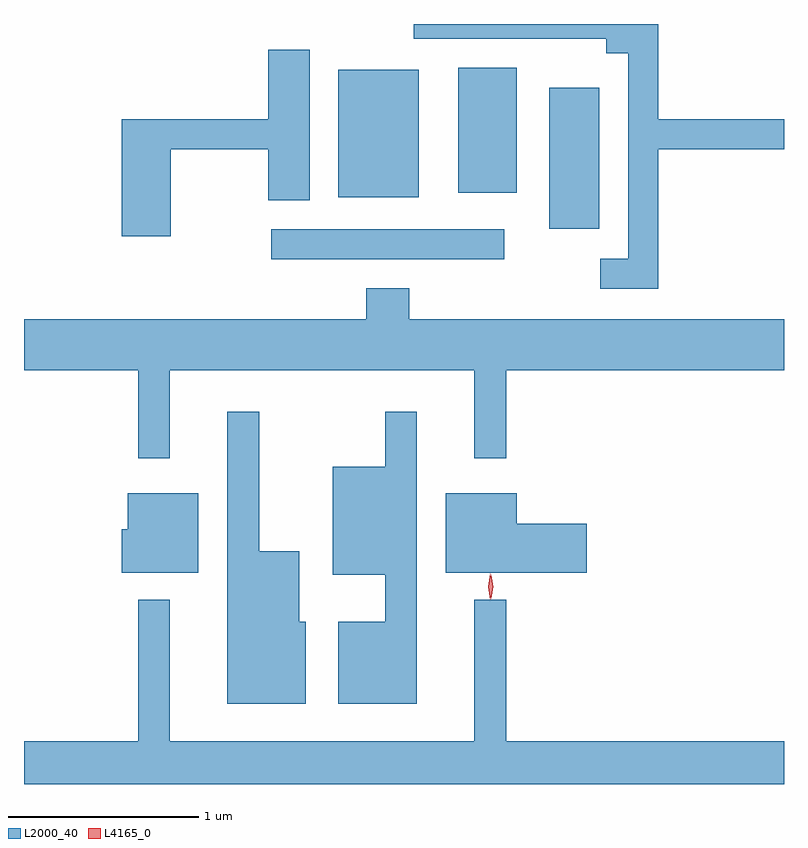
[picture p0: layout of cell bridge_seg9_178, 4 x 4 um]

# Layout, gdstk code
import gdstk
lib = gdstk.Library(unit=1e-6, precision=1e-09)
def R(c, l, rs):  # rectangles x0, y0, x1, y1
    for r in rs: c.add(gdstk.rectangle(r[:2], r[2:], *l))
def P(c, l, *ps):  # polygons
    for p in ps: c.add(gdstk.Polygon(p, *l))
L2000_40 = (2000, 40)
L4165_0 = (4165, 0)

bridge_seg9_178 = lib.new_cell('bridge_seg9_178')
R(bridge_seg9_178, L2000_40, [(1263.153,2036.801,1264.378,2036.959), (1264.616,2036.961,1264.879,2037.704), (1263.506,2037.126,1263.929,2037.799), (1264.136,2037.151,1264.444,2037.809)])
P(bridge_seg9_178, L2000_40, [(1265.189,2037.381),(1265.851,2037.381),(1265.851,2037.539),(1265.189,2037.539),(1265.189,2038.039),(1263.901,2038.039),(1263.901,2037.961),(1264.916,2037.961),(1264.916,2037.886),(1265.031,2037.886),(1265.031,2036.804),(1264.883,2036.804),(1264.883,2036.646),(1265.189,2036.646)],
  [(1262.624,2037.381),(1263.136,2037.381),(1263.136,2037.111),(1263.354,2037.111),(1263.354,2037.904),(1263.136,2037.904),(1263.136,2037.539),(1262.366,2037.539),(1262.366,2036.921),(1262.624,2036.921)],
  [(1261.851,2036.216),(1262.451,2036.216),(1262.451,2035.753),(1262.619,2035.753),(1262.619,2036.216),(1264.221,2036.216),(1264.221,2035.753),(1264.389,2035.753),(1264.389,2036.216),(1265.851,2036.216),(1265.851,2036.484),(1263.879,2036.484),(1263.879,2036.649),(1263.651,2036.649),(1263.651,2036.484),(1261.851,2036.484)],
  [(1263.334,2034.894),(1263.299,2034.894),(1263.299,2035.264),(1263.089,2035.264),(1263.089,2035.998),(1262.921,2035.998),(1262.921,2034.461),(1263.334,2034.461)],
  [(1263.919,2035.998),(1263.751,2035.998),(1263.751,2035.709),(1263.476,2035.709),(1263.476,2035.141),(1263.751,2035.141),(1263.751,2034.894),(1263.506,2034.894),(1263.506,2034.461),(1263.919,2034.461)],
  [(1264.814,2035.409),(1264.444,2035.409),(1264.444,2035.569),(1264.071,2035.569),(1264.071,2035.151),(1264.814,2035.151)],
  [(1262.769,2035.569),(1262.396,2035.569),(1262.396,2035.379),(1262.366,2035.379),(1262.366,2035.151),(1262.769,2035.151)],
  [(1265.851,2034.264),(1264.389,2034.264),(1264.389,2035.008),(1264.221,2035.008),(1264.221,2034.264),(1262.619,2034.264),(1262.619,2035.008),(1262.451,2035.008),(1262.451,2034.264),(1261.851,2034.264),(1261.851,2034.039),(1265.851,2034.039)])
P(bridge_seg9_178, L4165_0, [(1264.304,2035.01),(1264.295,2035.078),(1264.304,2035.145),(1264.304,2035.146),(1264.305,2035.145),(1264.314,2035.078),(1264.305,2035.01),(1264.305,2035.01)],
  [(1264.309,2035.013),(1264.3,2035.076),(1264.309,2035.14),(1264.31,2035.14),(1264.31,2035.14),(1264.32,2035.076),(1264.31,2035.013),(1264.31,2035.013)])

lib.write_gds('bridge_seg9_178.gds')
